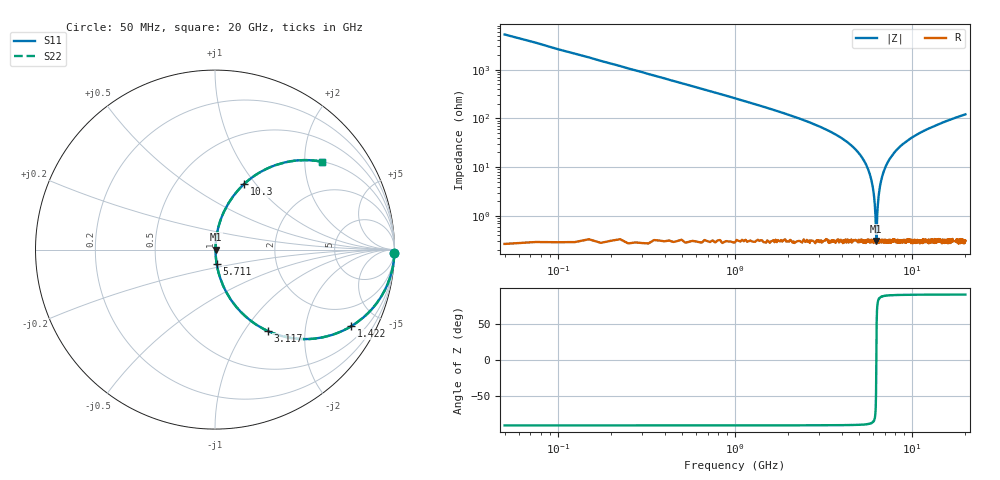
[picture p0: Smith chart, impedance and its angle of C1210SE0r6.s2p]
! AVX Thin Film Operation		Date: April 2012
! Description: Accu-P® Series, Thin Film, SMD, RF Capacitor
! Part Number: 12101J0R6PBTTR
!	100	MHz	-	20.05	GHz
!	Serial	Measurements
#	MHZ	S	MA	R	50
!	S11	S21	S12	S22
!	dB	Phase	dB	Phase	dB	Phase	dB	Phase
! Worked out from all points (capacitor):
!   801 points, 50 MHz to 20 GHz, reference 50 ohm
!   read as one part in series: C = 599 fF near 149.8 MHz
!   lowest |Z| = 305 mohm at 6.284 GHz (marker M1)
!   series resonance near 6.281 GHz, so ESL is about 1.1 nH
!   S11 on the Smith chart (normalised r, x): 50 MHz: open; 1.422 GHz: 1.01, -3.54; 3.117 GHz: 1.01, -1.28; 5.711 GHz: 1.01, -0.16; 10.3 GHz: 1.01, +0.87; 20 GHz: 1.01, +2.42
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50  1 -1.1  0.019 88.9  0.019 88.9  1 -1.1
249.5  0.996 -5.4  0.094 84.6  0.094 84.6  0.996 -5.4
473.938  0.984 -10.2  0.177 79.8  0.177 79.8  0.984 -10.2
1421.563  0.87 -29.4  0.491 60.5  0.491 60.5  0.87 -29.4
3117.313  0.539 -57.1  0.84 32.6  0.84 32.6  0.539 -57.1
3391.625  0.484 -60.8  0.873 28.9  0.873 28.9  0.484 -60.8
4838  0.217 -76.7  0.973 12.5  0.973 12.5  0.217 -76.7
5710.813  0.08 -83.2  0.994 4.6  0.994 4.6  0.08 -83.2
6010.063  0.037 -83.2  0.996 2.1  0.996 2.1  0.037 -83.2
6109.813  0.024 -81.3  0.997 1.3  0.997 1.3  0.024 -81.3
6209.563  0.01 -72.1  0.997 0.6  0.997 0.6  0.01 -72.1
6284.375  0.003059 7.6  0.997 -0.0  0.997 -0.0  0.003059 7.6
6359.188  0.011 73.1  0.997 -0.6  0.997 -0.6  0.011 73.1
6508.813  0.03 82.5  0.997 -1.7  0.997 -1.7  0.03 82.5
6708.313  0.055 83.7  0.995 -3.2  0.995 -3.2  0.055 83.7
7132.25  0.107 82.3  0.991 -6.1  0.991 -6.1  0.107 82.3
7805.563  0.181 78.6  0.98 -10.4  0.98 -10.4  0.181 78.6
10025  0.378 67.4  0.923 -22.2  0.923 -22.2  0.378 67.4
10299.31  0.398 66.2  0.915 -23.4  0.915 -23.4  0.398 66.2
13366.62  0.572 54.8  0.817 -34.9  0.817 -34.9  0.572 54.8
16683.31  0.692 46.0  0.719 -43.8  0.719 -43.8  0.692 46.0
20000  0.77 39.5  0.636 -50.4  0.636 -50.4  0.77 39.5
